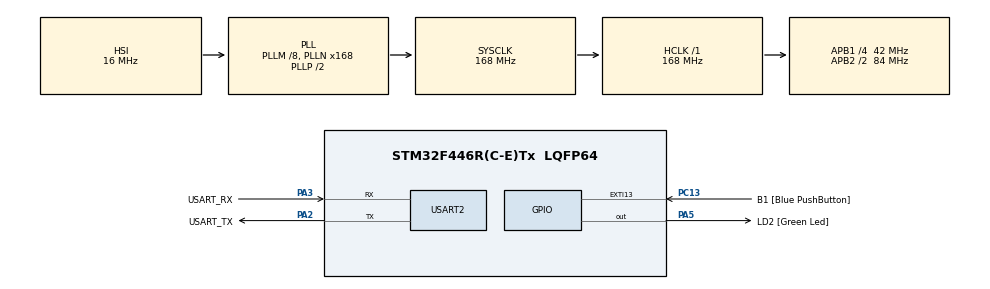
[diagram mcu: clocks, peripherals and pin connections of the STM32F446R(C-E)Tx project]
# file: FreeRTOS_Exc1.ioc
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Mcu.Family=STM32F4
Mcu.Name=STM32F446R(C-E)Tx
Mcu.Package=LQFP64
NVIC.PriorityGroup=NVIC_PRIORITYGROUP_4
NVIC.TIM6_DAC_IRQn=true\:15\:0\:true\:false\:true\:false\:true\:true
NVIC.TimeBase=TIM6_DAC_IRQn
NVIC.TimeBaseIP=TIM6
PA13.GPIO_Label=TMS
PA13.Mode=Serial_Wire
PA13.Signal=SYS_JTMS-SWDIO
PA14.GPIO_Label=TCK
PA14.Mode=Serial_Wire
PA14.Signal=SYS_JTCK-SWCLK
PA2.GPIO_Label=USART_TX
PA2.Mode=Asynchronous
PA2.Signal=USART2_TX
PA3.GPIO_Label=USART_RX
PA3.Mode=Asynchronous
PA3.Signal=USART2_RX
PA5.GPIO_Label=LD2 [Green Led]
PA5.Signal=GPIO_Output
PB3.GPIO_Label=SWO
PB3.Signal=SYS_JTDO-SWO
PC13.GPIO_Label=B1 [Blue PushButton]
PC13.GPIO_ModeDefaultEXTI=GPIO_MODE_IT_FALLING
PC13.Signal=GPXTI13
PC14-OSC32_IN.Mode=LSE-External-Oscillator
PC14-OSC32_IN.Signal=RCC_OSC32_IN
PC15-OSC32_OUT.Mode=LSE-External-Oscillator
PC15-OSC32_OUT.Signal=RCC_OSC32_OUT
PH0-OSC_IN.Mode=HSE-External-Oscillator
PH0-OSC_IN.Signal=RCC_OSC_IN
PH1-OSC_OUT.Mode=HSE-External-Oscillator
PH1-OSC_OUT.Signal=RCC_OSC_OUT
ProjectManager.HeapSize=0x200
ProjectManager.StackSize=0x400
ProjectManager.TargetToolchain=STM32CubeIDE
RCC.48MHZClocksFreq_Value=84000000
RCC.AHBFreq_Value=168000000
RCC.APB1CLKDivider=RCC_HCLK_DIV4
RCC.APB1Freq_Value=42000000
RCC.APB1TimFreq_Value=84000000
RCC.APB2CLKDivider=RCC_HCLK_DIV2
RCC.APB2Freq_Value=84000000
RCC.APB2TimFreq_Value=168000000
RCC.CortexFreq_Value=168000000
RCC.FLatency-AdvancedSettings=FLASH_LATENCY_5
RCC.HCLKFreq_Value=168000000
RCC.HSE_VALUE=8000000
RCC.HSI_VALUE=16000000
RCC.PLLM=8
RCC.PLLN=168
RCC.SYSCLKFreq_VALUE=168000000
RCC.SYSCLKSource=RCC_SYSCLKSOURCE_PLLCLK
RCC.USBFreq_Value=168000000
RCC.VCOOutputFreq_Value=336000000
USART2.VirtualMode=VM_ASYNC
VP_SYS_VS_tim6.Mode=TIM6
board=NUCLEO-F446RE

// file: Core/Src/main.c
/* USER CODE BEGIN Header */
/**
  ******************************************************************************
  * @file           : main.c
  * @brief          : Main program body
  ******************************************************************************
  * @attention
  *
  * Copyright (c) 2024 STMicroelectronics.
  * All rights reserved.
  *
  * This software is licensed under terms that can be found in the LICENSE file
  * in the root directory of this software component.
  * If no LICENSE file comes with this software, it is provided AS-IS.
  *
  ******************************************************************************
  */
/* USER CODE END Header */
#include "main.h"

/* USER CODE BEGIN Includes */

#include "FreeRTOS.h"
#include "task.h"

/* USER CODE END Includes */

/* USER CODE BEGIN PM */

#define DWT_CTRL			*((volatile uint32_t*)0xE0001000)
/* USER CODE END PM */

UART_HandleTypeDef huart2;

void SystemClock_Config(void);
static void MX_GPIO_Init(void);
static void MX_USART2_UART_Init(void);
/* USER CODE BEGIN PFP */

void Task1Handler(void* parameters);

void Task2Handler(void* parameters);

/* USER CODE END PFP */

int main(void)
{
  /* USER CODE BEGIN 1 */
	TaskHandle_t Task1Handle ,Task2Handle ;
	BaseType_t Local_Statue ;
  /* USER CODE END 1 */

  /* MCU Configuration--------------------------------------------------------*/

  /* Reset of all peripherals, Initializes the Flash interface and the Systick. */
  HAL_Init();

  /* Configure the system clock */
  SystemClock_Config();

  /* Initialize all configured peripherals */
  MX_GPIO_Init();
  MX_USART2_UART_Init();
  /* USER CODE BEGIN 2 */

  /*Enable CYCLE COUNT REG OF CPU*/

  DWT_CTRL |=1 ;

  /*For SEGGER SYSVIEW TRACE*/

  SEGGER_UART_init(500000);

  /*CONFIG SYSVIEW */
  SEGGER_SYSVIEW_Conf();
//SEGGER_SYSVIEW_Start();

  Local_Statue= xTaskCreate(Task1Handler, "Task-1", 200, "Hello world From Task-1 ", 2, &Task1Handle);

  configASSERT(Local_Statue == pdPASS);

  Local_Statue= xTaskCreate(Task2Handler, "Task-2", 200, "Hello world From Task-2", 2, &Task2Handle);

   configASSERT(Local_Statue == pdPASS);

   vTaskStartScheduler();

  /* USER CODE END 2 */

  /* Infinite loop */
  while (1)
  {

  }
}

void SystemClock_Config(void)
{
  RCC_OscInitTypeDef RCC_OscInitStruct = {0};
  RCC_ClkInitTypeDef RCC_ClkInitStruct = {0};

  /** Configure the main internal regulator output voltage
  */
  __HAL_RCC_PWR_CLK_ENABLE();
  __HAL_PWR_VOLTAGESCALING_CONFIG(PWR_REGULATOR_VOLTAGE_SCALE1);

  /** Initializes the RCC Oscillators according to the specified parameters
  * in the RCC_OscInitTypeDef structure.
  */
  RCC_OscInitStruct.OscillatorType = RCC_OSCILLATORTYPE_HSI;
  RCC_OscInitStruct.HSIState = RCC_HSI_ON;
  RCC_OscInitStruct.HSICalibrationValue = RCC_HSICALIBRATION_DEFAULT;
  RCC_OscInitStruct.PLL.PLLState = RCC_PLL_ON;
  RCC_OscInitStruct.PLL.PLLSource = RCC_PLLSOURCE_HSI;
  RCC_OscInitStruct.PLL.PLLM = 8;
  RCC_OscInitStruct.PLL.PLLN = 168;
  RCC_OscInitStruct.PLL.PLLP = RCC_PLLP_DIV2;
  RCC_OscInitStruct.PLL.PLLQ = 2;
  RCC_OscInitStruct.PLL.PLLR = 2;
  if (HAL_RCC_OscConfig(&RCC_OscInitStruct) != HAL_OK)
  {
    Error_Handler();
  }

  /** Initializes the CPU, AHB and APB buses clocks
  */
  RCC_ClkInitStruct.ClockType = RCC_CLOCKTYPE_HCLK|RCC_CLOCKTYPE_SYSCLK
                              |RCC_CLOCKTYPE_PCLK1|RCC_CLOCKTYPE_PCLK2;
  RCC_ClkInitStruct.SYSCLKSource = RCC_SYSCLKSOURCE_PLLCLK;
  RCC_ClkInitStruct.AHBCLKDivider = RCC_SYSCLK_DIV1;
  RCC_ClkInitStruct.APB1CLKDivider = RCC_HCLK_DIV4;
  RCC_ClkInitStruct.APB2CLKDivider = RCC_HCLK_DIV2;

  if (HAL_RCC_ClockConfig(&RCC_ClkInitStruct, FLASH_LATENCY_5) != HAL_OK)
  {
    Error_Handler();
  }
}

static void MX_USART2_UART_Init(void)
{

  huart2.Instance = USART2;
  huart2.Init.BaudRate = 115200;
  huart2.Init.WordLength = UART_WORDLENGTH_8B;
  huart2.Init.StopBits = UART_STOPBITS_1;
  huart2.Init.Parity = UART_PARITY_NONE;
  huart2.Init.Mode = UART_MODE_TX_RX;
  huart2.Init.HwFlowCtl = UART_HWCONTROL_NONE;
  huart2.Init.OverSampling = UART_OVERSAMPLING_16;
  if (HAL_UART_Init(&huart2) != HAL_OK)
  {
    Error_Handler();
  }

}

static void MX_GPIO_Init(void)
{
  GPIO_InitTypeDef GPIO_InitStruct = {0};

  /* GPIO Ports Clock Enable */
  __HAL_RCC_GPIOC_CLK_ENABLE();
  __HAL_RCC_GPIOH_CLK_ENABLE();
  __HAL_RCC_GPIOA_CLK_ENABLE();
  __HAL_RCC_GPIOB_CLK_ENABLE();

  /*Configure GPIO pin Output Level */
  HAL_GPIO_WritePin(LD2_GPIO_Port, LD2_Pin, GPIO_PIN_RESET);

  /*Configure GPIO pin : B1_Pin */
  GPIO_InitStruct.Pin = B1_Pin;
  GPIO_InitStruct.Mode = GPIO_MODE_IT_FALLING;
  GPIO_InitStruct.Pull = GPIO_NOPULL;
  HAL_GPIO_Init(B1_GPIO_Port, &GPIO_InitStruct);

  /*Configure GPIO pin : LD2_Pin */
  GPIO_InitStruct.Pin = LD2_Pin;
  GPIO_InitStruct.Mode = GPIO_MODE_OUTPUT_PP;
  GPIO_InitStruct.Pull = GPIO_NOPULL;
  GPIO_InitStruct.Speed = GPIO_SPEED_FREQ_LOW;
  HAL_GPIO_Init(LD2_GPIO_Port, &GPIO_InitStruct);

}

/* USER CODE BEGIN 4 */
void Task1Handler(void* parameters)
{

	char FSting[100];

	while(1)
	{
		snprintf(FSting , 100 , "%s\n",(char*)parameters);
		SEGGER_SYSVIEW_PrintfTarget(FSting);

	}

}
void Task2Handler(void* parameters)
{
	char FSting[100];

	while(1)
	{
		snprintf(FSting , 100 , "%s\n",(char*)parameters);
		SEGGER_SYSVIEW_PrintfTarget(FSting);

	}

}
/* USER CODE END 4 */

void HAL_TIM_PeriodElapsedCallback(TIM_HandleTypeDef *htim)
{
  if (htim->Instance == TIM6) {
    HAL_IncTick();
  }
}

void Error_Handler(void)
{
  __disable_irq();
  while (1)
  {
  }
}
